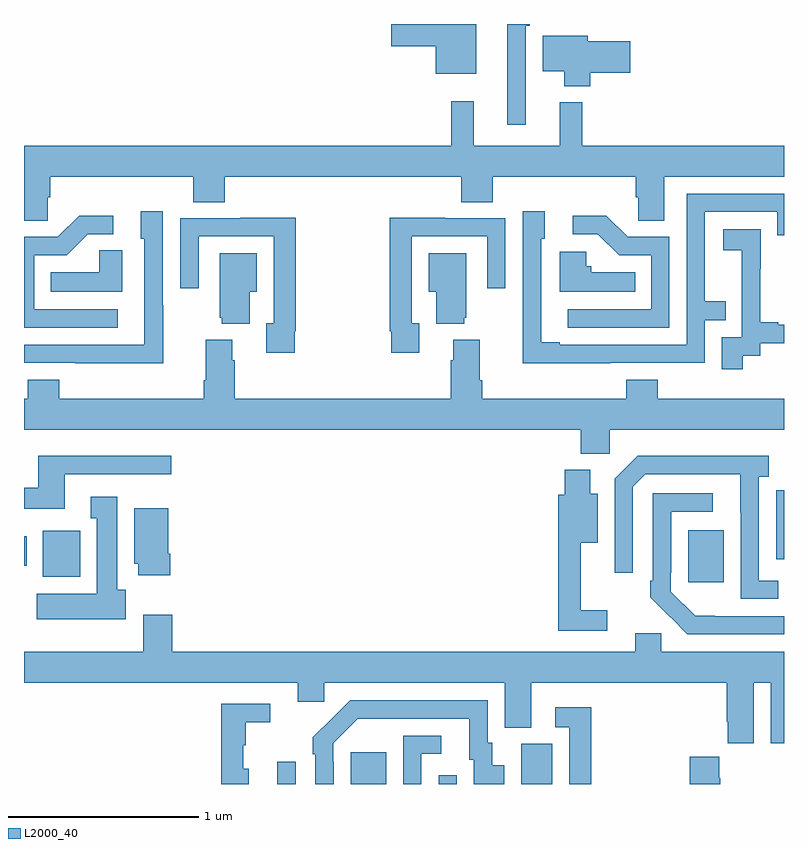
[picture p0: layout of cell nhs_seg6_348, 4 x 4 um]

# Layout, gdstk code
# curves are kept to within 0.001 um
import gdstk
lib = gdstk.Library(unit=1e-6, precision=1e-09)
def R(c, l, rs):  # rectangles x0, y0, x1, y1
    for r in rs: c.add(gdstk.rectangle(r[:2], r[2:], *l))
def P(c, l, *ps):  # polygons
    for p in ps: c.add(gdstk.Polygon(p, *l))
L2000_40 = (2000, 40)

nhs_seg6_348 = lib.new_cell('nhs_seg6_348')
R(nhs_seg6_348, L2000_40, [(132.333,917.5,132.429,917.617), (132.719,917.5,132.907,917.668), (133.182,917.5,133.278,917.545), (133.616,917.5,133.78,917.712), (134.495,918.561,134.683,918.835), (131.099,918.59,131.296,918.832), (131,918.649,131.014,918.805)])
P(nhs_seg6_348, L2000_40, [(133.381,921.5),(132.932,921.5),(132.932,921.383),(133.166,921.383),(133.166,921.239),(133.381,921.239)],
  [(133.641,921.491),(133.661,921.491),(133.661,921.5),(133.544,921.5),(133.544,920.97),(133.641,920.97)],
  [(133.979,921.244),(134.191,921.244),(134.191,921.409),(133.966,921.409),(133.966,921.439),(133.73,921.439),(133.73,921.251),(133.844,921.251),(133.844,921.173),(133.979,921.173)],
  [(131.124,920.587),(131.138,920.587),(131.138,920.696),(131.891,920.696),(131.891,920.563),(132.056,920.563),(132.056,920.696),(133.301,920.696),(133.301,920.563),(133.466,920.563),(133.466,920.696),(134.219,920.696),(134.219,920.587),(134.232,920.587),(134.232,920.464),(134.371,920.464),(134.371,920.696),(135,920.696),(135,920.86),(133.937,920.86),(133.937,921.088),(133.82,921.088),(133.82,920.86),(133.367,920.86),(133.367,921.094),(133.249,921.094),(133.249,920.86),(131,920.86),(131,920.464),(131.124,920.464)],
  [(134.087,919.716),(134.583,919.716),(134.583,919.941),(134.693,919.941),(134.693,920.042),(134.583,920.042),(134.583,920.511),(134.964,920.511),(134.964,920.388),(135,920.388),(135,920.607),(134.487,920.607),(134.487,919.812),(133.819,919.812),(133.819,919.825),(133.722,919.825),(133.722,920.37),(133.741,920.37),(133.741,920.515),(133.626,920.515),(133.626,920.021),(133.624,920.021),(133.624,919.715),(134.087,919.715)],
  [(131.733,920.021),(131.73,920.021),(131.73,920.515),(131.615,920.515),(131.615,920.37),(131.634,920.37),(131.634,919.812),(131,919.812),(131,919.716),(131.269,919.716),(131.269,919.715),(131.733,919.715)],
  [(131.494,919.998),(131.055,919.998),(131.055,920.283),(131.224,920.283),(131.335,920.394),(131.47,920.394),(131.47,920.492),(131.291,920.492),(131.178,920.379),(131,920.379),(131,919.902),(131.494,919.902)],
  [(134.397,920.379),(134.178,920.379),(134.065,920.492),(133.887,920.492),(133.887,920.394),(134.021,920.394),(134.132,920.283),(134.301,920.283),(134.301,919.998),(133.863,919.998),(133.863,919.902),(134.397,919.902)],
  [(132.424,919.882),(132.431,919.882),(132.431,920.48),(132.139,920.48),(132.139,920.478),(131.823,920.478),(131.823,920.109),(131.919,920.109),(131.919,920.382),(132.315,920.382),(132.315,919.926),(132.275,919.926),(132.275,919.77),(132.424,919.77)],
  [(133.081,919.926),(133.041,919.926),(133.041,920.382),(133.437,920.382),(133.437,920.109),(133.533,920.109),(133.533,920.478),(133.217,920.478),(133.217,920.48),(132.925,920.48),(132.925,919.882),(132.933,919.882),(132.933,919.77),(133.081,919.77)],
  [(134.782,919.753),(134.874,919.753),(134.874,919.821),(135,919.821),(135,919.917),(134.971,919.917),(134.971,919.93),(134.876,919.93),(134.876,920.213),(134.877,920.213),(134.877,920.419),(134.679,920.419),(134.679,920.309),(134.777,920.309),(134.777,920.081),(134.778,920.081),(134.778,919.851),(134.673,919.851),(134.673,919.683),(134.782,919.683)],
  [(131.518,920.309),(131.397,920.309),(131.397,920.194),(131.14,920.194),(131.14,920.09),(131.518,920.09)],
  [(134.216,920.194),(133.986,920.194),(133.986,920.226),(133.959,920.226),(133.959,920.302),(133.82,920.302),(133.82,920.09),(134.216,920.09)],
  [(132.187,920.09),(132.226,920.09),(132.226,920.293),(132.029,920.293),(132.029,919.953),(132.041,919.953),(132.041,919.922),(132.187,919.922)],
  [(133.316,919.953),(133.327,919.953),(133.327,920.293),(133.13,920.293),(133.13,920.09),(133.169,920.09),(133.169,919.922),(133.316,919.922)],
  [(133.931,919.238),(134.082,919.238),(134.082,919.364),(135,919.364),(135,919.528),(134.336,919.528),(134.336,919.627),(134.171,919.627),(134.171,919.528),(133.412,919.528),(133.412,919.624),(133.399,919.624),(133.399,919.837),(133.259,919.837),(133.259,919.73),(133.247,919.73),(133.247,919.528),(132.11,919.528),(132.11,919.73),(132.097,919.73),(132.097,919.837),(131.957,919.837),(131.957,919.624),(131.945,919.624),(131.945,919.528),(131.186,919.528),(131.186,919.627),(131.021,919.627),(131.021,919.528),(131,919.528),(131,919.364),(133.931,919.364)],
  [(134.971,918.57),(134.868,918.57),(134.868,919.118),(134.92,919.118),(134.92,919.228),(134.23,919.228),(134.109,919.107),(134.109,918.612),(134.205,918.612),(134.205,919.065),(134.271,919.131),(134.771,919.131),(134.772,918.474),(134.971,918.474)],
  [(131.215,919.131),(131.776,919.131),(131.776,919.228),(131.075,919.228),(131.075,919.06),(131,919.06),(131,918.95),(131.215,918.95)],
  [(134.071,918.415),(133.931,918.415),(133.931,918.77),(134.02,918.77),(134.02,919.027),(133.981,919.027),(133.981,919.153),(133.847,919.153),(133.847,919.023),(133.813,919.023),(133.813,918.306),(134.071,918.306)],
  [(135,919.047),(134.959,919.047),(134.959,918.938),(134.958,918.938),(134.958,918.684),(135,918.684)],
  [(135,918.384),(134.532,918.385),(134.403,918.513),(134.403,918.613),(134.406,918.613),(134.406,918.933),(134.626,918.933),(134.626,919.029),(134.31,919.029),(134.31,918.571),(134.295,918.571),(134.295,918.483),(134.492,918.288),(135,918.288)],
  [(131.536,918.522),(131.491,918.522),(131.491,919.012),(131.351,919.012),(131.351,918.899),(131.384,918.899),(131.384,918.502),(131.067,918.502),(131.067,918.368),(131.536,918.368)],
  [(131.771,918.712),(131.758,918.712),(131.758,918.952),(131.579,918.952),(131.579,918.66),(131.6,918.66),(131.6,918.6),(131.771,918.6)],
  [(134.842,918.032),(134.93,918.032),(134.93,917.715),(135,917.715),(135,918.196),(134.355,918.196),(134.355,918.294),(134.216,918.294),(134.216,918.196),(131.78,918.196),(131.78,918.391),(131.627,918.391),(131.627,918.196),(131,918.196),(131,918.032),(132.44,918.032),(132.44,917.934),(132.579,917.934),(132.579,918.032),(133.529,918.032),(133.529,917.797),(133.669,917.797),(133.669,918.032),(134.699,918.032),(134.699,917.827),(134.705,917.827),(134.705,917.715),(134.842,917.715)],
  [(132.63,917.615),(132.627,917.615),(132.627,917.715),(132.756,917.844),(133.343,917.844),(133.343,917.628),(133.367,917.628),(133.367,917.5),(133.528,917.5),(133.528,917.599),(133.465,917.599),(133.465,917.718),(133.44,917.718),(133.44,917.94),(132.716,917.94),(132.519,917.745),(132.519,917.657),(132.534,917.657),(132.534,917.5),(132.63,917.5)],
  [(132.184,917.581),(132.155,917.581),(132.155,917.703),(132.166,917.703),(132.166,917.824),(132.295,917.824),(132.295,917.922),(132.037,917.922),(132.037,917.5),(132.184,917.5)],
  [(133.985,917.905),(133.797,917.905),(133.797,917.799),(133.869,917.799),(133.869,917.5),(133.985,917.5)],
  [(133.092,917.658),(133.195,917.658),(133.195,917.754),(132.996,917.754),(132.996,917.5),(133.092,917.5)],
  [(134.664,917.531),(134.659,917.531),(134.659,917.644),(134.504,917.644),(134.504,917.5),(134.664,917.5)])

lib.write_gds('nhs_seg6_348.gds')
